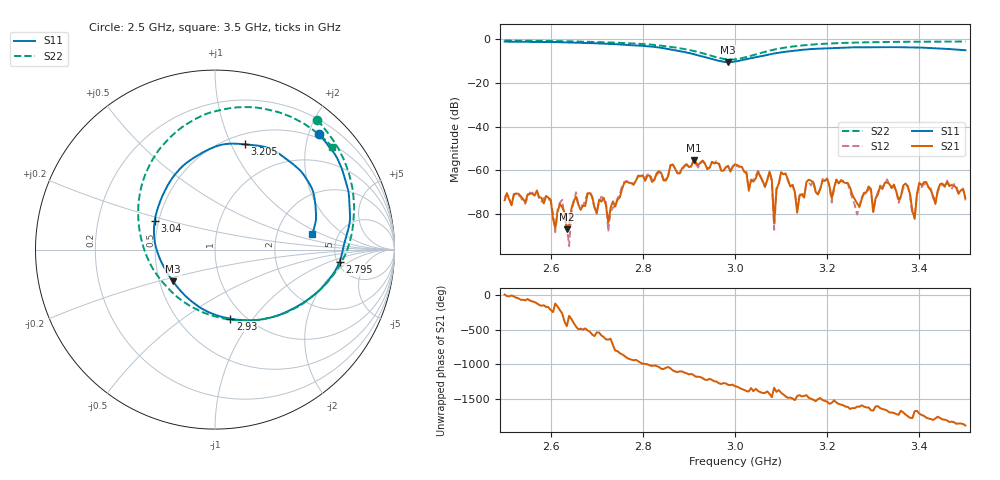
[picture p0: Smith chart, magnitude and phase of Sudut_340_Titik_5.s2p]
# Hz S RI R 50
! CMT, C1220, 16058040, 17.2.0/1
! Date: 15/08/2018 10:28:18
! Data: Format (Calibration Info)
! Freq  S11: Re/Im (F2)  S21: Re/Im (F2)  S12: Re/Im (F2)  S22: Re/Im (F2)
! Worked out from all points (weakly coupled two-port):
!   201 points, 2.5 GHz to 3.5 GHz, reference 50 ohm
!   highest |S21| = -55.34 dB at 2.91 GHz (marker M1); lowest = -86.9 dB at 2.635 GHz (marker M2)
!   lowest |S11| = -10.7 dB at 2.985 GHz (marker M3), VSWR 1.83, Z = 29.4 - j11.4 ohm
!   |S11| at or under -10 dB: 2.965 GHz to 3.009 GHz (43.96 MHz wide, 1.47 % of centre)
!   |S22| runs from -9.4 to -0.7 dB; largest |S21 - S12| = 0.00016
!   S11 on the Smith chart (normalised r, x): 2.5 GHz: 0.43, +2.18; 2.795 GHz: 5.23, -1.37; 2.93 GHz: 0.86, -0.78; 3.04 GHz: 0.48, +0.18; 3.205 GHz: 0.60, +1.13; 3.5 GHz: 3.23, +0.78
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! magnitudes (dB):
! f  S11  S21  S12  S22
! 2.5 GHz  -1.3  -73.7  -72.2  -0.7
! 2.635 GHz  -1.6  -86.9  -85.3  -1.1
! 2.67 GHz  -1.8  -76.1  -76.4  -1.3
! 2.795 GHz  -3.1  -62.6  -62.5  -2.3
! 2.835 GHz  -3.9  -60.4  -61.0  -3.0
! 2.91 GHz  -7.0  -55.3  -55.6  -5.5
! 2.93 GHz  -8.1  -55.6  -55.6  -6.6
! 2.985 GHz  -10.7  -58.0  -58.0  -9.4
! 3 GHz  -10.4  -57.2  -57.1  -9.4
! 3.04 GHz  -8.6  -65.1  -64.5  -7.4
! 3.075 GHz  -7.1  -60.6  -60.5  -5.4
! 3.085 GHz  -6.7  -84.1  -87.1  -4.9
! 3.1 GHz  -6.2  -60.8  -61.4  -4.3
! 3.135 GHz  -5.3  -79.3  -76.6  -3.2
! 3.17 GHz  -4.6  -65.4  -64.9  -2.6
! 3.205 GHz  -4.3  -67.2  -67.4  -2.1
! 3.24 GHz  -4.0  -65.8  -64.8  -1.8
! 3.265 GHz  -3.8  -75.0  -80.2  -1.7
! 3.335 GHz  -3.8  -66.2  -66.6  -1.4
! 3.39 GHz  -3.9  -82.1  -79.4  -1.3
! 3.4 GHz  -4.0  -65.7  -67.4  -1.3
! 3.5 GHz  -5.2  -72.5  -73.7  -1.2
